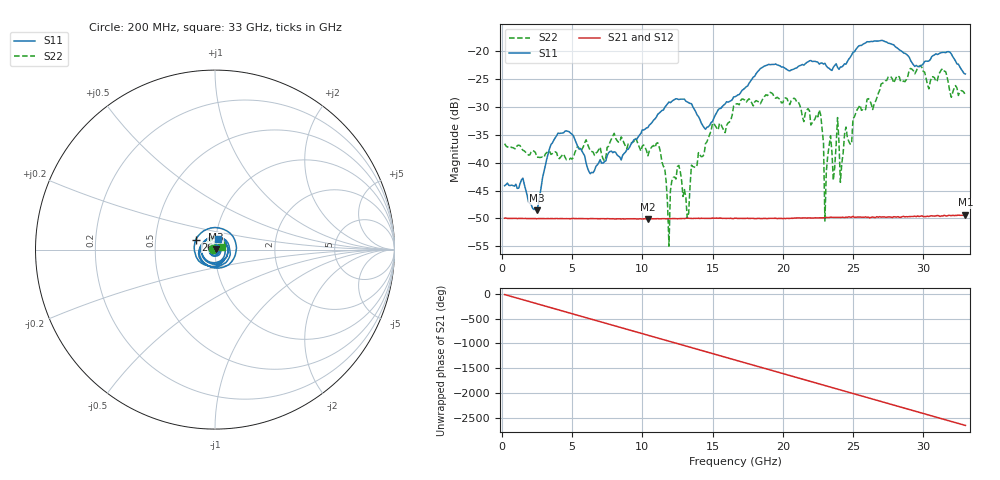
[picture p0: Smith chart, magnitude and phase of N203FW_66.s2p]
# GHZ S RI R 50
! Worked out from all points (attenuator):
!   329 points, 200 MHz to 33 GHz, reference 50 ohm
!   highest |S21| = -49.35 dB at 33 GHz (marker M1); lowest = -50.1 dB at 10.4 GHz (marker M2)
!   lowest |S11| = -48.5 dB at 2.5 GHz (marker M3), VSWR 1.01, Z = 50.4 + j0.125 ohm
!   |S11| at or under -10 dB: start of sweep to end of sweep
!   |S22| runs from -55.0 to -22.6 dB; largest |S21 - S12| = 8.8e-05
!   S11 on the Smith chart (normalised r, x): 200 MHz: 1.01, +0.00; 26 GHz: 0.80, +0.09; 33 GHz: 1.03, +0.12
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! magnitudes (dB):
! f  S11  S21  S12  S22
! 200 MHz  -44.1  -50.0  -49.9  -36.6
! 2.5 GHz  -48.5  -50.1  -50.0  -39.0
! 4 GHz  -34.7  -50.0  -50.0  -39.1
! 5.7 GHz  -37.9  -50.0  -50.0  -37.6
! 10.4 GHz  -33.7  -50.1  -50.1  -38.8
! 11.2 GHz  -31.1  -50.1  -50.1  -37.1
! 11.9 GHz  -29.1  -50.0  -50.0  -55.0
! 12.5 GHz  -28.6  -50.1  -50.1  -40.7
! 13.2 GHz  -29.1  -50.0  -50.0  -49.9
! 13.5 GHz  -29.4  -50.0  -50.0  -40.5
! 16.6 GHz  -28.2  -50.0  -50.0  -29.6
! 22.1 GHz  -21.9  -49.9  -49.9  -32.8
! 22.7 GHz  -22.2  -49.9  -49.8  -31.4
! 22.9 GHz  -22.3  -49.9  -49.9  -36.5
! 23 GHz  -22.2  -49.8  -49.8  -50.5
! 23.4 GHz  -23.3  -49.8  -49.8  -35.2
! 23.6 GHz  -22.9  -49.8  -49.8  -43.2
! 23.9 GHz  -22.9  -49.8  -49.8  -31.9
! 24.1 GHz  -22.9  -49.8  -49.8  -43.5
! 26 GHz  -18.3  -49.8  -49.8  -28.6
! 27.6 GHz  -18.6  -49.7  -49.7  -24.5
! 33 GHz  -24.1  -49.3  -49.4  -27.9
